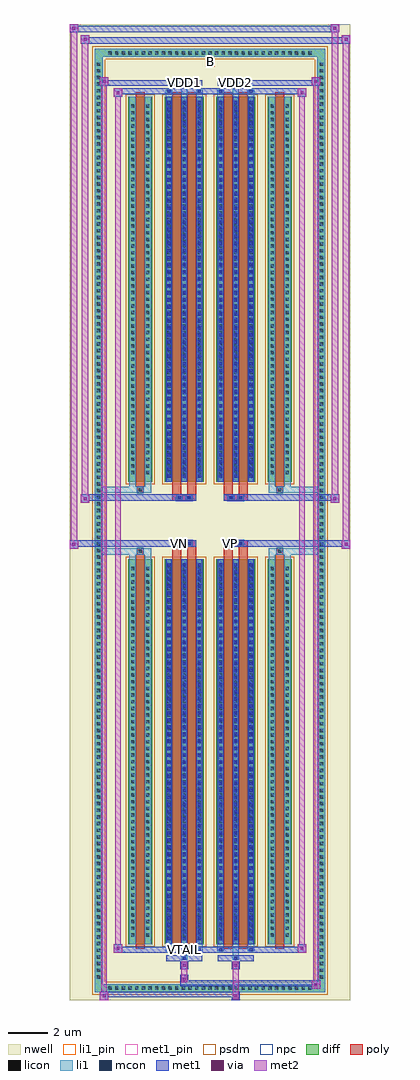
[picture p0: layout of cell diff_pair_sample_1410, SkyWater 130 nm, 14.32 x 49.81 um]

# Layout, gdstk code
import gdstk
lib = gdstk.Library(unit=1e-6, precision=5e-09)
def R(c, l, rs):  # rectangles x0, y0, x1, y1
    for r in rs: c.add(gdstk.rectangle(r[:2], r[2:], *l))
def A(c, l, x, y, w, h, nx, ny, dx, dy):  # array of equal rectangles
    R(c, l, [(x+i*dx, y+j*dy, x+i*dx+w, y+j*dy+h) for i in range(nx) for j in range(ny)])
def P(c, l, *ps):  # polygons
    for p in ps: c.add(gdstk.Polygon(p, *l))
nwell = (64, 20)
diff = (65, 20)
poly = (66, 20)
licon = (66, 44)
li1_pin = (67, 16)
li1 = (67, 20)
mcon = (67, 44)
met1_pin = (68, 16)
met1 = (68, 20)
via = (68, 44)
met2 = (69, 20)
psdm = (94, 20)
npc = (95, 20)

diff_pair_sample_1410 = lib.new_cell('diff_pair_sample_1410')
R(diff_pair_sample_1410, nwell, [(-7.16,-24.47,7.16,25.34), (-4.48,-22.66,-0.01,-0.8), (0.01,-22.66,4.48,-0.8), (-4.48,0.8,-0.01,22.66), (0.01,0.8,4.48,22.66)])
A(diff_pair_sample_1410, diff, -5.305, -24.07, 0.41, 0.41, 31, 2, 0.34, 47.73)
A(diff_pair_sample_1410, diff, -5.89, -23.495, 0.41, 0.41, 1, 138, 0, 0.34)
A(diff_pair_sample_1410, diff, 5.48, -23.495, 0.41, 0.41, 1, 138, 0, 0.34)
R(diff_pair_sample_1410, diff, [(-5.305,-24.07,5.305,-23.66), (-5.89,-23.495,-5.48,23.495), (5.48,-23.495,5.89,23.495), (-4.17,-21.615,-2.95,-1.985), (-2.31,-21.615,-0.32,-1.985), (0.32,-21.615,2.31,-1.985), (2.95,-21.615,4.17,-1.985), (-4.17,1.985,-2.95,21.615), (-2.31,1.985,-0.32,21.615), (0.32,1.985,2.31,21.615), (2.95,1.985,4.17,21.615), (-5.305,23.66,5.305,24.07)])
P(diff_pair_sample_1410, diff, [(5.89,24.07),(-5.89,24.07),(-5.89,-23.66),(-5.48,-23.66),(-5.48,23.66),(5.48,23.66),(5.48,-23.66),(-5.48,-23.66),(-5.89,-23.66),(-5.89,-24.07),(5.89,-24.07)])
R(diff_pair_sample_1410, poly, [(-3.78,-21.865,-3.34,-1.735), (-1.92,-21.865,-1.48,-1.735), (-1.15,-21.865,-0.71,-1.735), (0.71,-21.865,1.15,-1.735), (1.48,-21.865,1.92,-1.735), (3.34,-21.865,3.78,-1.735), (-3.725,-1.735,-3.395,-1.405), (-3.725,-1.735,-3.395,-1.405), (-1.92,-1.735,-1.48,-1.33), (-1.15,-1.735,-0.71,-1.33), (0.71,-1.735,1.15,-1.33), (1.48,-1.735,1.92,-1.33), (3.395,-1.735,3.725,-1.405), (3.395,-1.735,3.725,-1.405), (-1.92,-1.33,-0.71,-1), (-1.73,-1.33,-1.4,-1), (-1.23,-1.33,-0.9,-1), (0.71,-1.33,1.92,-1), (0.9,-1.33,1.23,-1), (1.4,-1.33,1.73,-1), (-1.92,1,-0.71,1.33), (-1.73,1,-1.4,1.33), (-1.23,1,-0.9,1.33), (0.71,1,1.92,1.33), (0.9,1,1.23,1.33), (1.4,1,1.73,1.33), (-1.92,1.33,-1.48,1.735), (-1.15,1.33,-0.71,1.735), (0.71,1.33,1.15,1.735), (1.48,1.33,1.92,1.735), (-3.725,1.405,-3.395,1.735), (-3.725,1.405,-3.395,1.735), (3.395,1.405,3.725,1.735), (3.395,1.405,3.725,1.735), (-3.78,1.735,-3.34,21.865), (-1.92,1.735,-1.48,21.865), (-1.15,1.735,-0.71,21.865), (0.71,1.735,1.15,21.865), (1.48,1.735,1.92,21.865), (3.34,1.735,3.78,21.865)])
A(diff_pair_sample_1410, licon, -5.185, -23.95, 0.17, 0.17, 31, 2, 0.34, 47.73)
A(diff_pair_sample_1410, licon, -5.77, -23.375, 0.17, 0.17, 1, 138, 0, 0.34)
A(diff_pair_sample_1410, licon, 5.6, -23.375, 0.17, 0.17, 1, 138, 0, 0.34)
A(diff_pair_sample_1410, licon, -4.03, -21.235, 0.17, 0.17, 1, 56, 0, 0.34)
A(diff_pair_sample_1410, licon, -3.26, -21.235, 0.17, 0.17, 1, 56, 0, 0.34)
A(diff_pair_sample_1410, licon, -2.17, -21.235, 0.17, 0.17, 3, 56, 0.77, 0.34)
A(diff_pair_sample_1410, licon, 0.46, -21.235, 0.17, 0.17, 3, 56, 0.77, 0.34)
A(diff_pair_sample_1410, licon, 3.09, -21.235, 0.17, 0.17, 1, 56, 0, 0.34)
A(diff_pair_sample_1410, licon, 3.86, -21.235, 0.17, 0.17, 1, 56, 0, 0.34)
A(diff_pair_sample_1410, licon, -4.03, 2.365, 0.17, 0.17, 1, 56, 0, 0.34)
A(diff_pair_sample_1410, licon, -3.26, 2.365, 0.17, 0.17, 1, 56, 0, 0.34)
A(diff_pair_sample_1410, licon, -2.17, 2.365, 0.17, 0.17, 3, 56, 0.77, 0.34)
A(diff_pair_sample_1410, licon, 0.46, 2.365, 0.17, 0.17, 3, 56, 0.77, 0.34)
A(diff_pair_sample_1410, licon, 3.09, 2.365, 0.17, 0.17, 1, 56, 0, 0.34)
A(diff_pair_sample_1410, licon, 3.86, 2.365, 0.17, 0.17, 1, 56, 0, 0.34)
R(diff_pair_sample_1410, licon, [(-3.645,-1.655,-3.475,-1.485), (3.475,-1.655,3.645,-1.485), (-1.65,-1.25,-1.48,-1.08), (-1.15,-1.25,-0.98,-1.08), (0.98,-1.25,1.15,-1.08), (1.48,-1.25,1.65,-1.08), (-1.65,1.08,-1.48,1.25), (-1.15,1.08,-0.98,1.25), (0.98,1.08,1.15,1.25), (1.48,1.08,1.65,1.25), (-3.645,1.485,-3.475,1.655), (3.475,1.485,3.645,1.655)])
R(diff_pair_sample_1410, li1_pin, [(-0.25,23.16,0.25,23.66)])
A(diff_pair_sample_1410, li1, -5.265, -24.03, 0.33, 0.33, 31, 2, 0.34, 47.73)
A(diff_pair_sample_1410, li1, -5.85, -23.455, 0.33, 0.33, 1, 138, 0, 0.34)
A(diff_pair_sample_1410, li1, 5.52, -23.455, 0.33, 0.33, 1, 138, 0, 0.34)
A(diff_pair_sample_1410, li1, -2.25, -21.615, 0.33, 19.63, 3, 2, 0.77, 23.6)
A(diff_pair_sample_1410, li1, 0.38, -21.615, 0.33, 19.63, 3, 2, 0.77, 23.6)
A(diff_pair_sample_1410, li1, -2.17, -21.425, 0.17, 0.17, 3, 54, 0.77, 0.36)
A(diff_pair_sample_1410, li1, -2.17, -21.425, 0.17, 19.25, 3, 2, 0.77, 23.6)
A(diff_pair_sample_1410, li1, 0.46, -21.425, 0.17, 0.17, 3, 54, 0.77, 0.36)
A(diff_pair_sample_1410, li1, 0.46, -21.425, 0.17, 19.25, 3, 2, 0.77, 23.6)
A(diff_pair_sample_1410, li1, -4.11, -21.315, 0.33, 0.33, 1, 56, 0, 0.34)
A(diff_pair_sample_1410, li1, -3.34, -21.315, 0.33, 0.33, 1, 56, 0, 0.34)
A(diff_pair_sample_1410, li1, -2.25, -21.315, 0.33, 0.33, 3, 56, 0.77, 0.34)
A(diff_pair_sample_1410, li1, 0.38, -21.315, 0.33, 0.33, 3, 56, 0.77, 0.34)
A(diff_pair_sample_1410, li1, 3.01, -21.315, 0.33, 0.33, 1, 56, 0, 0.34)
A(diff_pair_sample_1410, li1, 3.78, -21.315, 0.33, 0.33, 1, 56, 0, 0.34)
A(diff_pair_sample_1410, li1, -2.17, 2.175, 0.17, 0.17, 3, 54, 0.77, 0.36)
A(diff_pair_sample_1410, li1, 0.46, 2.175, 0.17, 0.17, 3, 54, 0.77, 0.36)
A(diff_pair_sample_1410, li1, -4.11, 2.285, 0.33, 0.33, 1, 56, 0, 0.34)
A(diff_pair_sample_1410, li1, -3.34, 2.285, 0.33, 0.33, 1, 56, 0, 0.34)
A(diff_pair_sample_1410, li1, -2.25, 2.285, 0.33, 0.33, 3, 56, 0.77, 0.34)
A(diff_pair_sample_1410, li1, 0.38, 2.285, 0.33, 0.33, 3, 56, 0.77, 0.34)
A(diff_pair_sample_1410, li1, 3.01, 2.285, 0.33, 0.33, 1, 56, 0, 0.34)
A(diff_pair_sample_1410, li1, 3.78, 2.285, 0.33, 0.33, 1, 56, 0, 0.34)
R(diff_pair_sample_1410, li1, [(-5.89,-24.07,-5.48,-23.66), (-5.89,-24.07,-5.48,-23.66), (-5.48,-24.07,5.48,-23.66), (5.48,-24.07,5.89,-23.66), (5.48,-24.07,5.89,-23.66), (-5.89,-23.66,-5.48,23.66), (5.48,-23.66,5.89,23.66), (-1.48,-22.42,-1.15,-21.615), (-1.4,-22.42,-1.23,-22.25), (1.15,-22.42,1.48,-21.615), (1.23,-22.42,1.4,-22.25), (-2.25,-21.99,-1.92,-21.615), (-2.17,-21.99,-2,-21.82), (-0.71,-21.99,-0.38,-21.615), (-0.63,-21.99,-0.46,-21.82), (0.38,-21.99,0.71,-21.615), (0.46,-21.99,0.63,-21.82), (1.92,-21.99,2.25,-21.615), (2,-21.99,2.17,-21.82), (-4.11,-21.615,-3.78,-1.985), (-3.34,-21.615,-3.01,-1.985), (3.01,-21.615,3.34,-1.985), (3.78,-21.615,4.11,-1.985), (-4.11,-1.985,-3.78,-1.405), (-3.34,-1.985,-3.01,-1.405), (3.01,-1.985,3.34,-1.405), (3.78,-1.985,4.11,-1.405), (-5.89,-1.735,-3.725,-1.405), (-4.11,-1.735,-3.725,-1.405), (-3.725,-1.735,-3.395,-1.405), (-3.395,-1.735,-3.01,-1.405), (3.01,-1.735,3.395,-1.405), (3.395,-1.735,3.725,-1.405), (3.395,-1.735,5.89,-1.405), (3.725,-1.735,4.11,-1.405), (-1.73,-1.33,-1.4,-1), (-1.23,-1.33,-0.9,-1), (0.9,-1.33,1.23,-1), (1.4,-1.33,1.73,-1), (-1.73,1,-1.4,1.33), (-1.23,1,-0.9,1.33), (0.9,1,1.23,1.33), (1.4,1,1.73,1.33), (-5.89,1.405,-3.725,1.735), (-4.11,1.405,-3.725,1.735), (-4.11,1.405,-3.78,1.985), (-3.725,1.405,-3.395,1.735), (-3.395,1.405,-3.01,1.735), (-3.34,1.405,-3.01,1.985), (3.01,1.405,3.395,1.735), (3.01,1.405,3.34,1.985), (3.395,1.405,3.725,1.735), (3.395,1.405,5.89,1.735), (3.725,1.405,4.11,1.735), (3.78,1.405,4.11,1.985), (-4.11,1.985,-3.78,21.615), (-3.34,1.985,-3.01,21.615), (3.01,1.985,3.34,21.615), (3.78,1.985,4.11,21.615), (-2.25,21.615,-1.92,21.99), (-1.48,21.615,-1.15,22.42), (-0.71,21.615,-0.38,21.99), (0.38,21.615,0.71,21.99), (1.15,21.615,1.48,22.42), (1.92,21.615,2.25,21.99), (-2.17,21.82,-2,21.99), (-0.63,21.82,-0.46,21.99), (0.46,21.82,0.63,21.99), (2,21.82,2.17,21.99), (-1.4,22.25,-1.23,22.42), (1.23,22.25,1.4,22.42), (-5.89,23.66,-5.48,24.07), (-5.89,23.66,-5.48,24.07), (-5.48,23.66,5.48,24.07), (5.48,23.66,5.89,24.07), (5.48,23.66,5.89,24.07)])
A(diff_pair_sample_1410, mcon, -2.17, -21.425, 0.17, 0.17, 3, 54, 0.77, 0.36)
A(diff_pair_sample_1410, mcon, 0.46, -21.425, 0.17, 0.17, 3, 54, 0.77, 0.36)
A(diff_pair_sample_1410, mcon, -2.17, 2.175, 0.17, 0.17, 3, 54, 0.77, 0.36)
A(diff_pair_sample_1410, mcon, 0.46, 2.175, 0.17, 0.17, 3, 54, 0.77, 0.36)
R(diff_pair_sample_1410, mcon, [(-1.4,-22.42,-1.23,-22.25), (1.23,-22.42,1.4,-22.25), (-2.17,-21.99,-2,-21.82), (-0.63,-21.99,-0.46,-21.82), (0.46,-21.99,0.63,-21.82), (2,-21.99,2.17,-21.82), (-1.65,-1.25,-1.48,-1.08), (-1.15,-1.25,-0.98,-1.08), (0.98,-1.25,1.15,-1.08), (1.48,-1.25,1.65,-1.08), (-1.65,1.08,-1.48,1.25), (-1.15,1.08,-0.98,1.25), (0.98,1.08,1.15,1.25), (1.48,1.08,1.65,1.25), (-2.17,21.82,-2,21.99), (-0.63,21.82,-0.46,21.99), (0.46,21.82,0.63,21.99), (2,21.82,2.17,21.99), (-1.4,22.25,-1.23,22.42), (1.23,22.25,1.4,22.42)])
R(diff_pair_sample_1410, met1_pin, [(-1.45,-22.03,-1.18,-21.76), (-1.7,-1.29,-1.43,-1.02), (0.93,-1.29,1.2,-1.02), (-1.45,22.21,-1.18,22.48), (1.18,22.21,1.45,22.48)])
A(diff_pair_sample_1410, met1, -2.23, -21.615, 0.29, 19.63, 3, 2, 0.77, 23.6)
A(diff_pair_sample_1410, met1, 0.4, -21.615, 0.29, 19.63, 3, 2, 0.77, 23.6)
A(diff_pair_sample_1410, met1, -2.23, -21.485, 0.29, 0.29, 3, 54, 0.77, 0.36)
A(diff_pair_sample_1410, met1, 0.4, -21.485, 0.29, 0.29, 3, 54, 0.77, 0.36)
A(diff_pair_sample_1410, met1, -2.23, 2.115, 0.29, 0.29, 3, 54, 0.77, 0.36)
A(diff_pair_sample_1410, met1, 0.4, 2.115, 0.29, 0.29, 3, 54, 0.77, 0.36)
R(diff_pair_sample_1410, met1, [(-5.62,-24.47,-5.19,-24.04), (1.1,-24.47,1.53,-24.04), (-5.62,-24.33,1.53,-24.04), (5.19,-23.9,5.62,-23.47), (-1.53,-23.76,5.62,-23.47), (-1.53,-23.62,-1.1,-23.19), (-1.53,-22.91,-1.1,-22.48), (1.1,-22.91,1.53,-22.48), (-2.23,-22.48,-0.4,-22.19), (-1.46,-22.48,-1.17,-22.19), (0.4,-22.48,2.23,-22.19), (1.17,-22.48,1.46,-22.19), (-4.91,-22.05,-4.48,-21.62), (-4.91,-22.05,-2.23,-21.76), (-2.23,-22.05,-1.94,-21.76), (-2.23,-22.05,-0.4,-21.76), (-0.69,-22.05,-0.4,-21.76), (-0.4,-22.05,0.4,-21.76), (0.4,-22.05,0.69,-21.76), (0.4,-22.05,2.23,-21.76), (1.94,-22.05,2.23,-21.76), (2.23,-22.05,4.91,-21.76), (4.48,-22.05,4.91,-21.62), (-7.16,-1.43,-6.73,-1), (6.73,-1.43,7.16,-1), (-7.16,-1.33,-0.71,-1), (-1.92,-1.33,-0.71,-1), (0.71,-1.33,1.92,-1), (0.71,-1.33,7.16,-1), (-1.71,-1.31,-1.42,-1.02), (-1.21,-1.31,-0.92,-1.02), (0.92,-1.31,1.21,-1.02), (1.42,-1.31,1.71,-1.02), (-6.59,0.9,-6.16,1.33), (6.16,0.9,6.59,1.33), (-6.59,1,-1.92,1.33), (-1.92,1,-0.71,1.33), (0.71,1,1.92,1.33), (1.92,1,6.59,1.33), (-1.71,1.02,-1.42,1.31), (-1.21,1.02,-0.92,1.31), (0.92,1.02,1.21,1.31), (1.42,1.02,1.71,1.31), (-4.91,21.62,-4.48,22.05), (4.48,21.62,4.91,22.05), (-4.91,21.76,-2.23,22.05), (-2.23,21.76,-1.94,22.05), (-2.23,21.76,-0.4,22.05), (-0.69,21.76,-0.4,22.05), (-0.4,21.76,0.4,22.05), (0.4,21.76,0.69,22.05), (0.4,21.76,2.23,22.05), (1.94,21.76,2.23,22.05), (2.23,21.76,4.91,22.05), (-5.62,22.19,-5.19,22.62), (-5.62,22.19,-2.23,22.48), (-2.23,22.19,-0.4,22.48), (-1.46,22.19,-1.17,22.48), (0.4,22.19,2.23,22.48), (1.17,22.19,1.46,22.48), (2.23,22.19,5.62,22.48), (5.19,22.19,5.62,22.62), (-6.59,24.34,-6.16,24.77), (-6.59,24.34,-4.48,24.67), (-4.48,24.34,4.48,24.67), (4.48,24.34,7.16,24.67), (6.73,24.34,7.16,24.77), (-7.16,24.91,-6.73,25.34), (-7.16,24.91,-4.48,25.24), (-4.48,24.91,4.48,25.24), (4.48,24.91,6.59,25.24), (6.16,24.91,6.59,25.34)])
R(diff_pair_sample_1410, via, [(-5.48,-24.33,-5.33,-24.18), (1.24,-24.33,1.39,-24.18), (5.33,-23.76,5.48,-23.61), (-1.39,-23.48,-1.24,-23.33), (-1.39,-22.77,-1.24,-22.62), (1.24,-22.77,1.39,-22.62), (-4.77,-21.91,-4.62,-21.76), (4.62,-21.91,4.77,-21.76), (-7.02,-1.29,-6.87,-1.14), (6.87,-1.29,7.02,-1.14), (-6.45,1.04,-6.3,1.19), (6.3,1.04,6.45,1.19), (-4.77,21.76,-4.62,21.91), (4.62,21.76,4.77,21.91), (-5.48,22.33,-5.33,22.48), (5.33,22.33,5.48,22.48), (-6.45,24.48,-6.3,24.63), (6.87,24.48,7.02,24.63), (-7.02,25.05,-6.87,25.2), (6.3,25.05,6.45,25.2)])
R(diff_pair_sample_1410, met2, [(-5.62,-24.47,-5.19,-24.04), (-5.55,-24.47,-5.26,22.62), (-5.26,-24.47,-5.19,-24.04), (-5.57,-24.42,-5.24,-24.09), (1.15,-24.42,1.48,-24.09), (1.15,-24.09,1.48,-22.86), (5.19,-23.9,5.62,-23.47), (5.26,-23.9,5.55,22.62), (5.55,-23.9,5.62,-23.47), (5.24,-23.85,5.57,-23.52), (-1.48,-23.57,-1.15,-23.24), (-1.48,-23.24,-1.15,-22.86), (-1.48,-22.86,-1.15,-22.53), (1.15,-22.86,1.48,-22.53), (-4.91,-22.05,-4.48,-21.62), (-4.84,-22.05,-4.55,22.05), (-4.55,-22.05,-4.48,-21.62), (4.48,-22.05,4.91,-21.62), (4.55,-22.05,4.84,22.05), (4.84,-22.05,4.91,-21.62), (-4.86,-22,-4.53,-21.67), (4.53,-22,4.86,-21.67), (-7.16,-1.43,-6.73,-1), (-7.11,-1.43,-6.78,25.34), (-6.78,-1.43,-6.73,-1), (6.73,-1.43,7.16,-1), (6.78,-1.43,7.11,24.77), (7.11,-1.43,7.16,-1), (-7.11,-1.38,-6.78,-1.05), (6.78,-1.38,7.11,-1.05), (-6.59,0.9,-6.16,1.33), (-6.54,0.9,-6.21,24.77), (-6.21,0.9,-6.16,1.33), (6.16,0.9,6.59,1.33), (6.21,0.9,6.54,25.34), (6.54,0.9,6.59,1.33), (-6.54,0.95,-6.21,1.28), (6.21,0.95,6.54,1.28), (-4.91,21.62,-4.48,22.05), (-4.55,21.62,-4.48,22.05), (4.48,21.62,4.91,22.05), (4.84,21.62,4.91,22.05), (-4.86,21.67,-4.53,22), (4.53,21.67,4.86,22), (-5.62,22.19,-5.19,22.62), (-5.26,22.19,-5.19,22.62), (5.19,22.19,5.62,22.62), (5.55,22.19,5.62,22.62), (-5.57,22.24,-5.24,22.57), (5.24,22.24,5.57,22.57), (-6.59,24.34,-6.16,24.77), (-6.21,24.34,-6.16,24.77), (6.73,24.34,7.16,24.77), (7.11,24.34,7.16,24.77), (-6.54,24.39,-6.21,24.72), (6.78,24.39,7.11,24.72), (-7.16,24.91,-6.73,25.34), (-6.78,24.91,-6.73,25.34), (6.16,24.91,6.59,25.34), (6.54,24.91,6.59,25.34), (-7.11,24.96,-6.78,25.29), (6.21,24.96,6.54,25.29)])
R(diff_pair_sample_1410, psdm, [(-4.3,-21.745,-2.82,-1.855), (-2.44,-21.745,-0.19,-1.855), (0.19,-21.745,2.44,-1.855), (2.82,-21.745,4.3,-1.855), (-4.3,1.855,-2.82,21.745), (-2.44,1.855,-0.19,21.745), (0.19,1.855,2.44,21.745), (2.82,1.855,4.3,21.745)])
P(diff_pair_sample_1410, psdm, [(6.02,24.2),(-6.02,24.2),(-6.02,-23.53),(-5.35,-23.53),(-5.35,23.53),(5.35,23.53),(5.35,-23.53),(-5.35,-23.53),(-6.02,-23.53),(-6.02,-24.2),(6.02,-24.2)])
R(diff_pair_sample_1410, npc, [(-3.745,-1.755,-3.375,-1.385), (3.375,-1.755,3.745,-1.385), (-1.75,-1.35,-1.38,-0.98), (-1.75,-1.35,-0.88,-0.98), (-1.75,-1.35,-0.88,-0.98), (-1.25,-1.35,-0.88,-0.98), (0.88,-1.35,1.25,-0.98), (0.88,-1.35,1.75,-0.98), (0.88,-1.35,1.75,-0.98), (1.38,-1.35,1.75,-0.98), (-1.75,0.98,-1.38,1.35), (-1.75,0.98,-0.88,1.35), (-1.75,0.98,-0.88,1.35), (-1.25,0.98,-0.88,1.35), (0.88,0.98,1.25,1.35), (0.88,0.98,1.75,1.35), (0.88,0.98,1.75,1.35), (1.38,0.98,1.75,1.35), (-3.745,1.385,-3.375,1.755), (3.375,1.385,3.745,1.755)])
diff_pair_sample_1410.add(gdstk.Label('VTAIL', (-1.315,-21.895), layer=68, texttype=5))
diff_pair_sample_1410.add(gdstk.Label('VN', (-1.565,-1.155), layer=68, texttype=5))
diff_pair_sample_1410.add(gdstk.Label('VP', (1.065,-1.155), layer=68, texttype=5))
diff_pair_sample_1410.add(gdstk.Label('B', (0,23.41), layer=67, texttype=5))
diff_pair_sample_1410.add(gdstk.Label('VDD2', (1.315,22.345), layer=68, texttype=5))
diff_pair_sample_1410.add(gdstk.Label('VDD1', (-1.315,22.345), layer=68, texttype=5))

lib.write_gds('diff_pair_sample_1410.gds')
